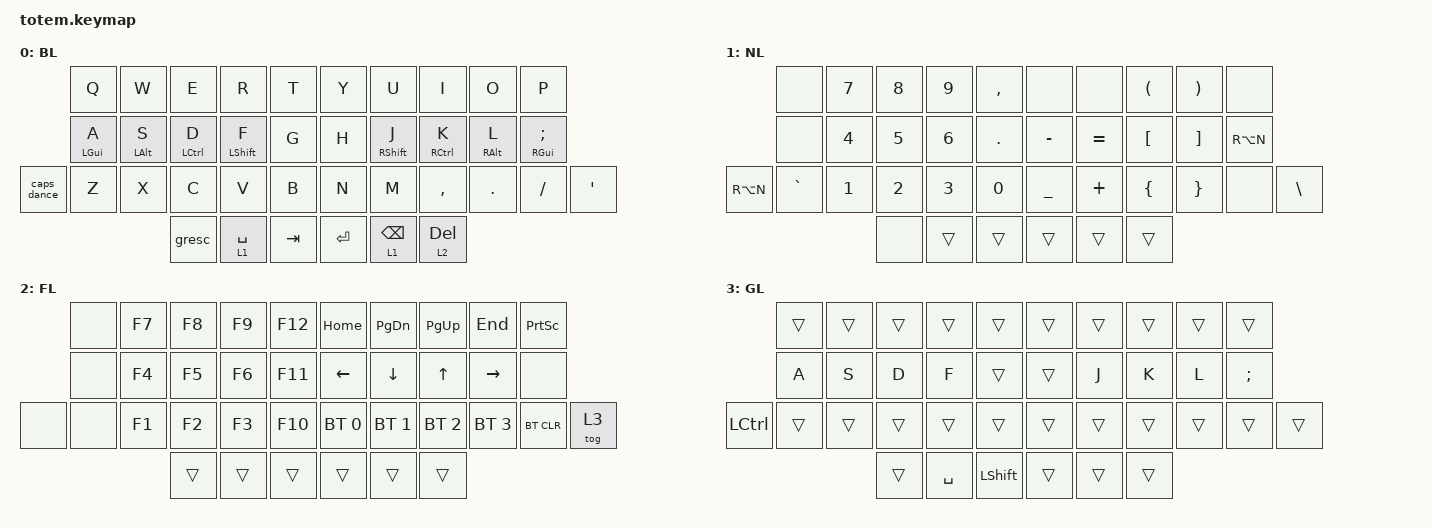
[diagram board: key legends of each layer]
#include <behaviors.dtsi>
#include <dt-bindings/zmk/bt.h>
#include <dt-bindings/zmk/keys.h>
#include "zmk-helpers/helper.h"
#include "zmk-helpers/key-labels/totem.h"

#define _BL 0
#define _NL 1
#define _FL 2
#define _GL 3
#define QUICK_TAP_MS 175
#define TAPPING_TERM_MS 180

#define KEYS_L LT0 LT1 LT2 LT3 LT4 LM0 LM1 LM2 LM3 LM4 LB0 LB1 LB2 LB3 LB4 LB5
#define KEYS_R RT0 RT1 RT2 RT3 RT4 RM0 RM1 RM2 RM3 RM4 RB0 RB1 RB2 RB3 RB4 RB5
#define THUMBS LH0 LH1 LH2 RH0 RH1 RH2

/* Global defaults */

&lt {
    flavor = "balanced";
    tapping-term-ms = <TAPPING_TERM_MS>;
    quick-tap-ms = <QUICK_TAP_MS>;
};

&kscan0 {
    wakeup-source;
};

/* Homerow mods */

#define MAKE_HRM(NAME, HOLD, TAP, TRIGGER_POS)                                 \
ZMK_HOLD_TAP(NAME, bindings = <HOLD>, <TAP>; flavor = "balanced";            \
tapping-term-ms = <TAPPING_TERM_MS>; quick-tap-ms = <QUICK_TAP_MS>;         \
require-prior-idle-ms = <150>; hold-trigger-on-release;         \
hold-trigger-key-positions = <TRIGGER_POS>;)

MAKE_HRM(hml, &kp, &kp, KEYS_R THUMBS)
MAKE_HRM(hmr, &kp, &kp, KEYS_L THUMBS)

ZMK_TAP_DANCE(caps_dance,
    tapping-term-ms = <200>;
    bindings = <&caps_word>, <&kp CAPSLOCK>;
)

/ {

    keymap {
        compatible = "zmk,keymap";

        base_layer {
            label = "BL";
            bindings = <
            &kp Q        &kp W        &kp E         &kp R         &kp T      &kp Y      &kp U            &kp I         &kp O        &kp P
            &hml LGUI A  &hml LALT S  &hml LCTRL D  &hml LSHFT F  &kp G      &kp H      &hmr RSHFT J     &hmr RCTRL K  &hmr RALT L  &hmr RGUI SEMI
&caps_dance  &kp Z        &kp X        &kp C         &kp V         &kp B      &kp N      &kp M            &kp COMMA     &kp PERIOD   &kp SLASH       &kp SQT
                                      &gresc        &lt 1 SPACE   &kp TAB    &kp ENTER  &lt 1 BACKSPACE  &lt 2 DELETE
            >;
        };

        num_layer {
            label = "NL";
            bindings = <
           &none      &kp N7  &kp N8  &kp N9  &kp COMMA    &none           &none      &kp LPAR        &kp RPAR         &none
           &none      &kp N4  &kp N5  &kp N6  &kp DOT      &kp MINUS       &kp EQUAL  &kp LBKT        &kp RBKT         &kp RA(N)
&kp RA(N)  &kp GRAVE  &kp N1  &kp N2  &kp N3  &kp N0       &kp UNDERSCORE  &kp PLUS   &kp LEFT_BRACE  &kp RIGHT_BRACE  &none      &kp BSLH
                              &none   &trans  &trans       &trans          &trans     &trans
            >;
        };

        function_layer {
            label = "FL";
            bindings = <
       &none  &kp F7  &kp F8  &kp F9  &kp F12    &kp HOME      &kp PG_DN     &kp PG_UP     &kp END       &kp PSCRN
       &none  &kp F4  &kp F5  &kp F6  &kp F11    &kp LEFT      &kp DOWN      &kp UP        &kp RIGHT     &none
&none  &none  &kp F1  &kp F2  &kp F3  &kp F10    &bt BT_SEL 0  &bt BT_SEL 1  &bt BT_SEL 2  &bt BT_SEL 3  &bt BT_CLR  &tog 3
                      &trans  &trans  &trans     &trans        &trans        &trans
            >;
        };

        game_layer {
            bindings = <
           &trans  &trans  &trans  &trans     &trans       &trans  &trans  &trans  &trans  &trans
           &kp A   &kp S   &kp D   &kp F      &trans       &trans  &kp J   &kp K   &kp L   &kp SEMI
&kp LCTRL  &trans  &trans  &trans  &trans     &trans       &trans  &trans  &trans  &trans  &trans    &trans
                           &trans  &kp SPACE  &kp LSHFT    &trans  &trans  &trans
            >;

            label = "GL";
        };
    };
};
